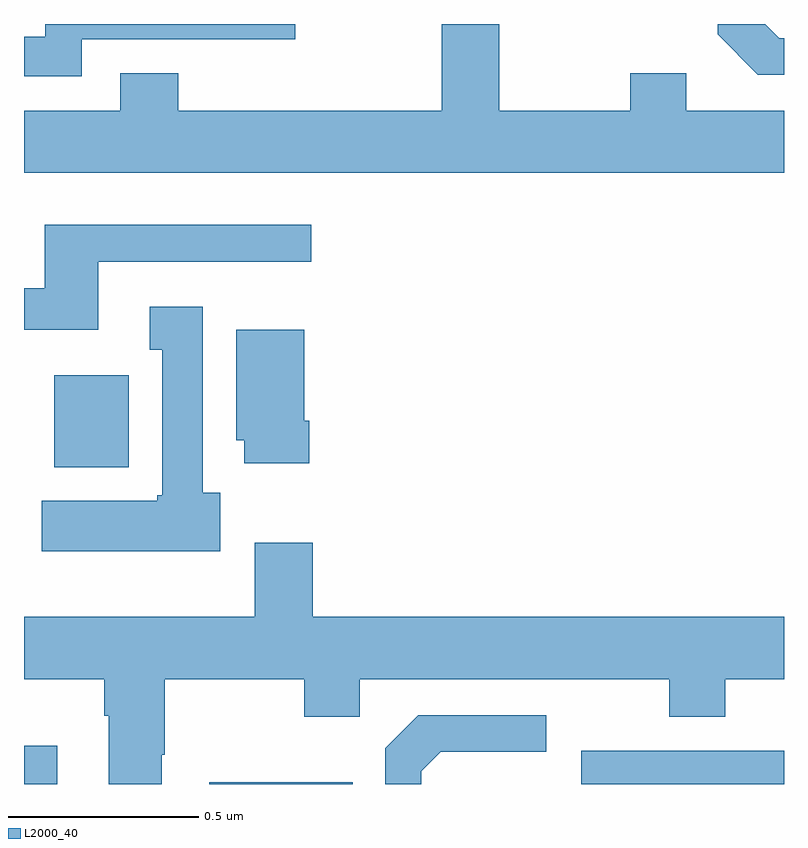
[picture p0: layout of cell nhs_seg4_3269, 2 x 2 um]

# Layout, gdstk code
import gdstk
lib = gdstk.Library(unit=1e-6, precision=1e-09)
def R(c, l, rs):  # rectangles x0, y0, x1, y1
    for r in rs: c.add(gdstk.rectangle(r[:2], r[2:], *l))
def P(c, l, *ps):  # polygons
    for p in ps: c.add(gdstk.Polygon(p, *l))
L2000_40 = (2000, 40)

nhs_seg4_3269 = lib.new_cell('nhs_seg4_3269')
R(nhs_seg4_3269, L2000_40, [(151,773.9,151.087,774.001), (151.488,773.9,151.865,773.905), (152.466,773.9,153,773.988), (151.079,774.734,151.276,774.976)])
P(nhs_seg4_3269, L2000_40, [(153,775.672),(152.743,775.672),(152.743,775.771),(152.596,775.771),(152.596,775.672),(152.251,775.672),(152.251,775.9),(152.099,775.9),(152.099,775.672),(151.406,775.672),(151.406,775.771),(151.253,775.771),(151.253,775.672),(151,775.672),(151,775.508),(153,775.508)],
  [(151.152,775.86),(151.714,775.86),(151.714,775.9),(151.056,775.9),(151.056,775.867),(151,775.867),(151,775.763),(151.152,775.763)],
  [(153,775.863),(152.988,775.863),(152.951,775.9),(152.826,775.9),(152.826,775.873),(152.931,775.767),(153,775.767)],
  [(151.195,775.275),(151.756,775.275),(151.756,775.372),(151.055,775.372),(151.055,775.204),(151,775.204),(151,775.095),(151.195,775.095)],
  [(151.516,774.666),(151.471,774.666),(151.471,775.156),(151.331,775.156),(151.331,775.043),(151.364,775.043),(151.364,774.66),(151.351,774.66),(151.351,774.646),(151.047,774.646),(151.047,774.512),(151.516,774.512)],
  [(151.751,774.856),(151.738,774.856),(151.738,775.096),(151.559,775.096),(151.559,774.804),(151.58,774.804),(151.58,774.744),(151.751,774.744)],
  [(151.363,773.977),(151.371,773.977),(151.371,774.176),(151.738,774.176),(151.738,774.077),(151.884,774.077),(151.884,774.176),(152.698,774.176),(152.698,774.077),(152.845,774.077),(152.845,774.176),(153,774.176),(153,774.34),(151.76,774.34),(151.76,774.535),(151.607,774.535),(151.607,774.34),(151,774.34),(151,774.176),(151.211,774.176),(151.211,774.08),(151.223,774.08),(151.223,773.9),(151.363,773.9)],
  [(152.046,773.934),(152.097,773.985),(152.374,773.985),(152.374,774.081),(152.037,774.081),(151.95,773.994),(151.95,773.9),(152.046,773.9)])

lib.write_gds('nhs_seg4_3269.gds')
